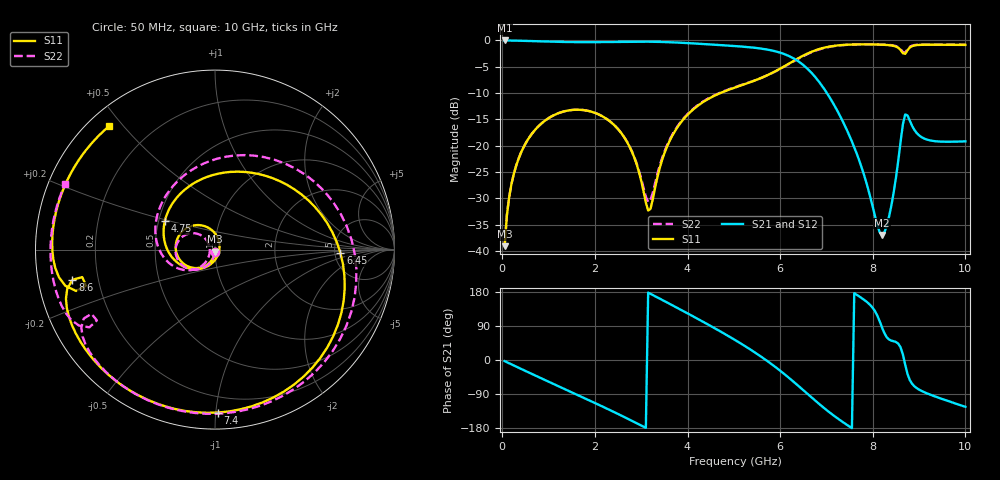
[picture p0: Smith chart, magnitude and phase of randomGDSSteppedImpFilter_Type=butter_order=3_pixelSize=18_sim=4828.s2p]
! freq	dB(S11)	phase(S11)	dB(S12)	phase(S12)
!  dB(S21)	phase(S21)	dB(S22)	phase(S22)
!S-par simulation data
#  GHz  S  DB  R 50
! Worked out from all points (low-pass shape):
!   200 points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, 50 MHz to 10 GHz, reference 50 ohm
!   highest |S21| = -0.01 dB at 50 MHz (marker M1); lowest = -36.9 dB at 8.2 GHz (marker M2)
!   |S21| within 3 dB of the highest: start of sweep to 6.201 GHz
!   lowest |S11| = -39.1 dB at 50 MHz (marker M3), VSWR 1.02, Z = 49.9 - j1.11 ohm
!   |S11| at or under -10 dB: start of sweep to 4.707 GHz
!   |S22| runs from -39.1 to -0.7 dB; largest |S21 - S12| = 0
!   S11 on the Smith chart (normalised r, x): 50 MHz: 1.00, -0.02; 4.75 GHz: 0.54, +0.19; 6.45 GHz: 5.61, -0.41; 7.4 GHz: 0.10, -1.01; 8.6 GHz: 0.11, -0.10; 10 GHz: 0.06, +0.46
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0.05  -39.06 -92.2  -0.01 -2.9  -0.01 -2.9  -39.06 -92.0
0.2  -27.19 -102.1  -0.03 -11.7  -0.03 -11.7  -27.19 -100.9
0.5  -19.61 -120.8  -0.09 -28.9  -0.09 -28.9  -19.60 -117.8
1.15  -14.04 -159.9  -0.26 -65.7  -0.26 -65.7  -14.03 -152.5
1.75  -13.22 163.9  -0.33 -99.3  -0.33 -99.3  -13.21 176.7
2.65  -18.63 102.4  -0.25 -151.4  -0.25 -151.4  -18.60 135.3
3.15  -32.30 1.5  -0.24 177.8  -0.24 177.8  -30.69 176.4
3.4  -24.21 -93.0  -0.28 161.9  -0.28 161.9  -23.75 -128.2
4.1  -13.27 -159.0  -0.56 116.5  -0.56 116.5  -13.16 -150.0
4.75  -9.84 150.0  -0.91 72.6  -0.91 72.6  -9.76 173.6
5.05  -8.86 125.6  -1.09 51.1  -1.09 51.1  -8.79 155.0
5.75  -6.50 65.0  -1.78 -5.1  -1.78 -5.1  -6.51 102.0
6.45  -3.11 -1.5  -4.34 -74.3  -4.34 -74.3  -3.20 27.7
6.7  -2.08 -26.4  -6.37 -101.1  -6.37 -101.1  -2.17 -1.9
7  -1.28 -55.2  -9.86 -131.9  -9.86 -131.9  -1.34 -35.5
7.4  -0.84 -89.0  -16.23 -167.7  -16.23 -167.7  -0.86 -73.6
8.2  -0.81 -142.9  -36.94 85.7  -36.94 85.7  -0.77 -129.0
8.35  -0.90 -152.2  -33.49 54.2  -33.49 54.2  -0.85 -137.8
8.6  -1.81 -168.0  -19.30 33.4  -19.30 33.4  -1.66 -152.3
8.7  -2.55 -164.3  -14.06 -12.3  -14.06 -12.3  -2.30 -149.1
9.15  -0.82 172.0  -18.77 -87.0  -18.77 -87.0  -0.76 -169.6
10  -0.85 130.6  -19.16 -123.5  -19.16 -123.5  -0.80 156.5
